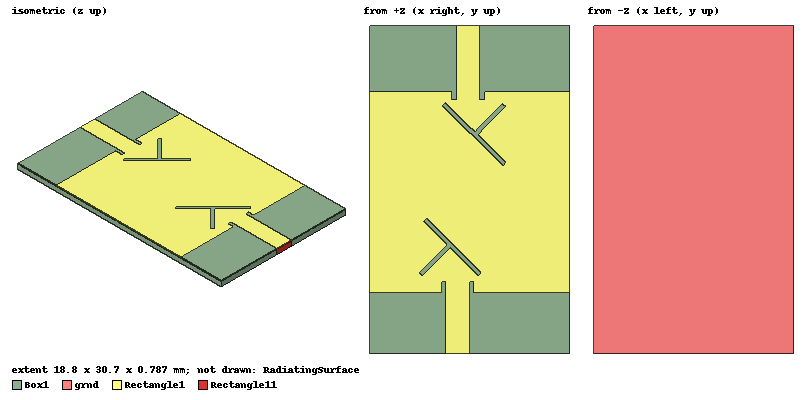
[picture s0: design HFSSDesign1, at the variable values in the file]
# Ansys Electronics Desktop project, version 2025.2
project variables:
  $q = 0.4mm
  $s = 1.25mm
  $t = 2.4mm
  $u = 18.8mm
  $q1 = 0.5mm
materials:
  vacuum: permittivity=1
  copper: permeability=0.999991 conductivity=58000000
  Rogers RT/duroid 5880 (tm): permittivity=2.2 dielectric_loss_tangent=0.0009

design HFSSDesign1 (HFSS, HFSS Terminal Network, model units mm)
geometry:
  Box1 [Rogers RT/duroid 5880 (tm)] = box(corner=(-16.75mm, (-45/2) mm, 0mm), size=($u, $u+11.9mm, -0.787mm))
  Rectangle1 = rectangle(corner=((-33.5/2) mm, (-33.5/2) mm, 0mm), x_size=$u, y_size=$u)
  grnd = rectangle(corner=(-16.75mm, -22.5mm, -0.787mm), x_size=$u, y_size=$u+11.9mm)
  Rectangle3 = rectangle(corner=(-8.75mm-$s, -15.75mm, 0mm), x_size=3.05mm, y_size=-1mm)
  feed = rectangle(corner=(-8.325mm-$s, -15.25mm, 0mm), x_size=2.2mm, y_size=-7.25mm)
  Rectangle6 = rectangle(corner=(-8.325mm-$s, -15.25mm, -0.787mm), x_size=2.2mm, y_size=-7.25mm)
  grnd.unite(Rectangle6)
  port = rectangle(corner=(-8.325mm-$s, -22.5mm, 0mm), z_size=-0.787mm, x_size=2.2mm)
  Rectangle7 = rectangle(corner=(-15mm-$q, -6.5mm+$q, 0mm), x_size=0.4mm, y_size=7.2mm)
  Rectangle7.rotate(axis=Z, angle=45deg)
  Rectangle8 = rectangle(corner=($t-$q, -14.7mm-$q, 0mm), x_size=0.4mm, y_size=-4mm)
  Rectangle8.rotate(axis=Z, angle=-45deg)
  Rectangle7.unite(Rectangle8)
  RadiatingSurface [vacuum] = region(absolute_offset=5.5555556mm on all sides)
  Cylinder1 [copper] = cylinder(axis=Z, base_centre=(-16.2mm, 1.5mm, 0mm), radius=0.3mm, height=-0.787mm)
  Cylinder1_1..Cylinder1_16 [copper] = Cylinder1.duplicate_along_line(step=(0mm, -1.1mm, 0mm), total=17)
  Cylinder1_17..Cylinder1_22, Cylinder1_26..Cylinder1_32 [copper] = Cylinder1.duplicate_along_line(step=(1.1mm, 0mm, 0mm), total=17)  # copies kept: 1..6, 10..16
  Cylinder1_16_1..Cylinder1_16_5, Cylinder1_16_9..Cylinder1_16_16 [copper] = Cylinder1_16.duplicate_along_line(step=(1.1mm, 0mm, 0mm), total=17)  # copies kept: 1..5, 9..16
  Cylinder1_16_16_1..Cylinder1_16_16_15 [copper] = Cylinder1_16_16.duplicate_along_line(step=(3.4861003e-14mm, 1.1mm, 0mm), total=16)
  Rectangle10 = rectangle(corner=(-7.75mm-$s, -15.75mm+17.8mm, 0mm), x_size=3.05mm, y_size=-0.8mm)
  feed1 = rectangle(corner=(-7.325mm-$s, -15.25mm+16.2mm, 0mm), x_size=2.2mm, y_size=7.25mm)
  Rectangle11 = rectangle(corner=(-8.575mm, 8.2mm, 0mm), z_size=-0.787mm, x_size=2.2mm)
  Rectangle12 = rectangle(corner=(-15mm-$q1, -6.5mm+$q1, 0mm), x_size=0.4mm, y_size=8mm)
  Rectangle12.rotate(axis=Z, angle=45deg)
  Rectangle13 = rectangle(corner=($t-$q1, -14.7mm-$q1, 0mm), x_size=0.4mm, y_size=-4mm)
  Rectangle13.rotate(axis=Z, angle=-45deg)
  Rectangle12.unite(Rectangle13)
  Rectangle12.mirror(point=(-9.0863221mm, -12.126881mm, 0mm), normal=(0.70360631mm, 0.71059001mm, 0mm))
  Rectangle12.move(2.0374446mm, 9.8742742mm, 0mm)
  Rectangle1.subtract(Rectangle12, Rectangle7)
  Rectangle1.subtract(Rectangle10)
  Rectangle1.unite(feed1)
  Rectangle1.subtract(Rectangle3)
  Rectangle1.unite(feed)
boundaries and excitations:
  PerfE1: Perfect E Objects=Rectangle1
  PerfE2: Perfect E Objects=grnd
  Open1: Radiation Objects=RadiatingSurface
  1: Lumped Port Objects=port LumpedPortType=Modal Modes{Mode1{IntLine{(-8.475, -22.5, -0.787) -> (-8.475, -22.5, 0)} CharImp=Zpi}} Impedance=50ohm
  2: Lumped Port Objects=Rectangle11 LumpedPortType=Modal Modes{Mode1{IntLine{(-7.475, 8.2, -0.787) -> (-7.5, 8.2, 0)} CharImp=Zpi}} Impedance=50ohm
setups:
  Setup: HfssDriven MultipleAdaptiveFreqsSetup{Low=22GHz High=32GHz} MaxDeltaS=0.02 MaximumPasses=6 MinimumPasses=1 MinimumConvergedPasses=1 PercentRefinement=30 BasisOrder=2 PortAccuracy=2 DrivenSolverType="Auto Select Direct/Iterative"
    sweep Sweep: 22GHz to 32GHz step 0.1GHz; Type=Fast SaveFields SaveRadFields
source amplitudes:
  1:1: 1V 0deg
  2:1: 0V 0deg
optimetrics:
  ParametricSetup1: Parametric disabled Sim._Setups=[Setup]
    sweep $t: LIN 2mm 3mm 0.1mm
  ParametricSetup2: Parametric disabled Sim._Setups=[Setup]
    sweep $q: LIN 0.5mm -0.8mm -0.1mm
  ParametricSetup3: Parametric disabled Sim._Setups=[Setup]
    sweep $u: LIN 22mm 18mm -0.25mm
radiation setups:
  3D: Infinite Sphere Theta=0deg..180deg step 2deg Phi=-180deg..180deg step 2deg
  Elevation: Infinite Sphere Theta=-180deg..180deg step 1deg Phi=0deg..90deg step 90deg
  Azimuth: Infinite Sphere Theta=90deg..90deg step 0deg Phi=-180deg..180deg step 1deg
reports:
  S Parameter Plot8: dB(S(1,1)), dB(S(2,2)) vs Freq on Setup : Sweep; markers m1 at 29.9GHz, m2 at 30GHz
  Axial Ratio Plot5: dB(AxialRatioValue) vs Freq on Setup : Sweep, 3D [Phi=0deg Theta=0deg]; markers m1 at 30.5GHz
